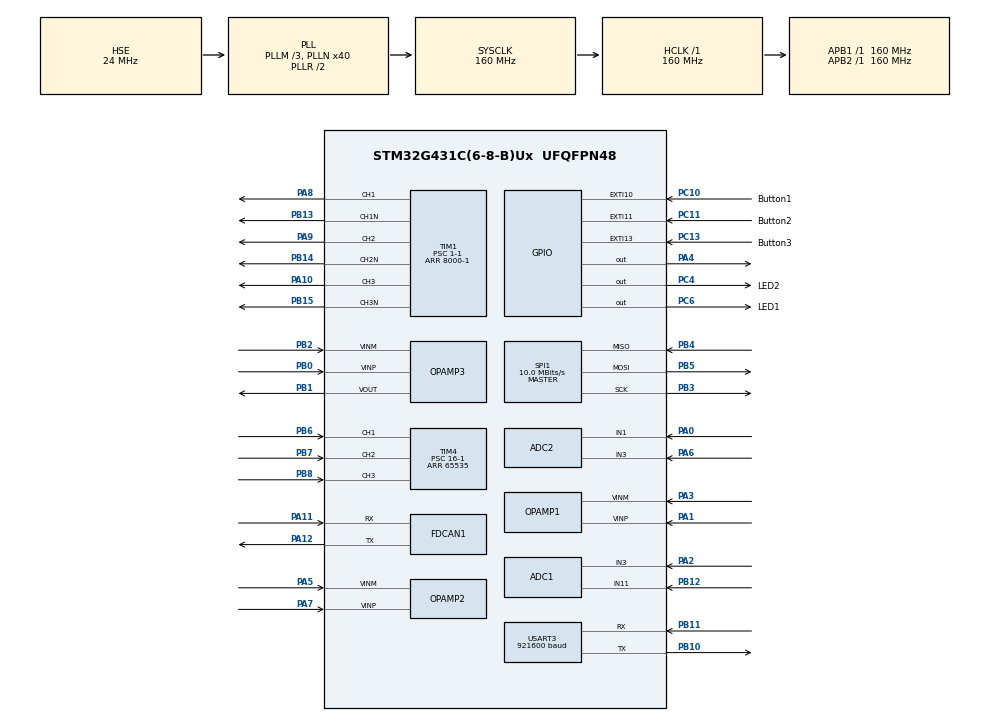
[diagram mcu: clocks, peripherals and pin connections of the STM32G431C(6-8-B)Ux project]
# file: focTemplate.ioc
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ADC1.Channel-0\#ChannelRegularConversion=ADC_CHANNEL_11
ADC1.ClockPrescaler=ADC_CLOCK_ASYNC_DIV4
ADC1.EnableInjectedConversion=ENABLE
ADC1.ExternalTrigInjecConv=ADC_EXTERNALTRIGINJEC_T1_CC4
ADC1.InjNumberOfConversion=2
ADC1.InjectedChannel-1\#ChannelInjectedConversion=ADC_CHANNEL_3
ADC1.InjectedChannel-2\#ChannelInjectedConversion=ADC_CHANNEL_12
ADC1.InjectedOffsetNumber-1\#ChannelInjectedConversion=ADC_OFFSET_NONE
ADC1.InjectedOffsetNumber-2\#ChannelInjectedConversion=ADC_OFFSET_NONE
ADC1.InjectedRank-1\#ChannelInjectedConversion=1
ADC1.InjectedRank-2\#ChannelInjectedConversion=2
ADC1.InjectedSamplingTime-1\#ChannelInjectedConversion=ADC_SAMPLETIME_6CYCLES_5
ADC1.InjectedSamplingTime-2\#ChannelInjectedConversion=ADC_SAMPLETIME_6CYCLES_5
ADC1.NbrOfConversionFlag=1
ADC1.OffsetNumber-0\#ChannelRegularConversion=ADC_OFFSET_NONE
ADC1.Rank-0\#ChannelRegularConversion=1
ADC1.SamplingTime-0\#ChannelRegularConversion=ADC_SAMPLETIME_2CYCLES_5
ADC1.master=1
ADC2.Channel-2\#ChannelRegularConversion=ADC_CHANNEL_1
ADC2.ClockPrescaler=ADC_CLOCK_ASYNC_DIV4
ADC2.EnableInjectedConversion=ENABLE
ADC2.EnableRegularConversion=ENABLE
ADC2.ExternalTrigInjecConv=ADC_EXTERNALTRIGINJEC_T1_CC4
ADC2.InjNumberOfConversion=1
ADC2.InjectedChannel-1\#ChannelInjectedConversion=ADC_CHANNEL_3
ADC2.InjectedOffsetNumber-1\#ChannelInjectedConversion=ADC_OFFSET_NONE
ADC2.InjectedRank-1\#ChannelInjectedConversion=1
ADC2.InjectedSamplingTime-1\#ChannelInjectedConversion=ADC_SAMPLETIME_6CYCLES_5
ADC2.NbrOfConversionFlag=1
ADC2.OffsetNumber-2\#ChannelRegularConversion=ADC_OFFSET_NONE
ADC2.Rank-2\#ChannelRegularConversion=1
ADC2.SamplingTime-2\#ChannelRegularConversion=ADC_SAMPLETIME_2CYCLES_5
COMP1.TriggerMode=COMP_TRIGGERMODE_IT_RISING
Dma.Request0=USART3_TX
Dma.USART3_TX.0.Direction=DMA_MEMORY_TO_PERIPH
Dma.USART3_TX.0.EventEnable=DISABLE
Dma.USART3_TX.0.Instance=DMA1_Channel1
Dma.USART3_TX.0.MemDataAlignment=DMA_MDATAALIGN_BYTE
Dma.USART3_TX.0.MemInc=DMA_MINC_ENABLE
Dma.USART3_TX.0.Mode=DMA_NORMAL
Dma.USART3_TX.0.PeriphDataAlignment=DMA_PDATAALIGN_BYTE
Dma.USART3_TX.0.PeriphInc=DMA_PINC_DISABLE
Dma.USART3_TX.0.Polarity=HAL_DMAMUX_REQ_GEN_RISING
Dma.USART3_TX.0.Priority=DMA_PRIORITY_LOW
Dma.USART3_TX.0.RequestNumber=1
Dma.USART3_TX.0.SignalID=NONE
Dma.USART3_TX.0.SyncEnable=DISABLE
Dma.USART3_TX.0.SyncPolarity=HAL_DMAMUX_SYNC_NO_EVENT
Dma.USART3_TX.0.SyncRequestNumber=1
Dma.USART3_TX.0.SyncSignalID=NONE
FDCAN1.CalculateBaudRateNominal=500000
FDCAN1.CalculateTimeBitNominal=2000
FDCAN1.CalculateTimeQuantumNominal=125.0
FDCAN1.DataPrescaler=20
FDCAN1.DataTimeSeg1=10
FDCAN1.DataTimeSeg2=5
FDCAN1.ExtFiltersNbr=1
FDCAN1.NominalPrescaler=20
FDCAN1.NominalTimeSeg1=10
FDCAN1.NominalTimeSeg2=5
FDCAN1.StdFiltersNbr=1
Mcu.Family=STM32G4
Mcu.Name=STM32G431C(6-8-B)Ux
Mcu.Package=UFQFPN48
NVIC.ADC1_2_IRQn=true\:0\:0\:false\:false\:true\:true\:true\:true
NVIC.COMP1_2_3_IRQn=true\:0\:0\:false\:false\:true\:false\:true\:true
NVIC.DMA1_Channel1_IRQn=true\:0\:0\:false\:false\:true\:false\:true\:true
NVIC.EXTI15_10_IRQn=true\:0\:0\:false\:false\:true\:true\:true\:true
NVIC.FDCAN1_IT0_IRQn=true\:0\:0\:false\:false\:true\:true\:true\:true
NVIC.PriorityGroup=NVIC_PRIORITYGROUP_4
NVIC.TIM1_BRK_TIM15_IRQn=true\:0\:0\:false\:false\:true\:true\:true\:true
NVIC.TIM1_CC_IRQn=true\:0\:0\:false\:false\:true\:true\:true\:true
NVIC.TIM1_UP_TIM16_IRQn=true\:0\:0\:false\:false\:true\:true\:true\:true
NVIC.TIM4_IRQn=true\:0\:0\:false\:false\:true\:true\:true\:true
NVIC.USART3_IRQn=true\:0\:0\:false\:false\:true\:true\:true\:true
PA0.Mode=IN1-Single-Ended
PA0.Signal=ADC2_IN1
PA1.Mode=Standalone
PA1.Signal=OPAMP1_VINP
PA10.Signal=S_TIM1_CH3
PA11.Mode=FDCAN_Activate
PA11.Signal=FDCAN1_RX
PA12.Mode=FDCAN_Activate
PA12.Signal=FDCAN1_TX
PA13.Mode=Serial_Wire
PA13.Signal=SYS_JTMS-SWDIO
PA14.Mode=Serial_Wire
PA14.Signal=SYS_JTCK-SWCLK
PA2.Signal=SharedAnalog_PA2
PA3.Mode=Standalone
PA3.Signal=OPAMP1_VINM
PA4.GPIO_Speed=GPIO_SPEED_FREQ_VERY_HIGH
PA4.PinState=GPIO_PIN_SET
PA4.Signal=GPIO_Output
PA5.Mode=Standalone
PA5.Signal=OPAMP2_VINM
PA6.Signal=SharedAnalog_PA6
PA7.Mode=Standalone
PA7.Signal=OPAMP2_VINP
PA8.Signal=S_TIM1_CH1
PA9.Signal=S_TIM1_CH2
PB0.Mode=Standalone
PB0.Signal=OPAMP3_VINP
PB1.Signal=SharedAnalog_PB1
PB10.Mode=Asynchronous
PB10.Signal=USART3_TX
PB11.Mode=Asynchronous
PB11.Signal=USART3_RX
PB12.Mode=IN11-Single-Ended
PB12.Signal=ADC1_IN11
PB13.Mode=PWM Generation1 CH1 CH1N
PB13.Signal=TIM1_CH1N
PB14.Mode=PWM Generation2 CH2 CH2N
PB14.Signal=TIM1_CH2N
PB15.Mode=PWM Generation3 CH3 CH3N
PB15.Signal=TIM1_CH3N
PB2.Mode=Standalone
PB2.Signal=OPAMP3_VINM
PB3.Mode=Full_Duplex_Master
PB3.Signal=SPI1_SCK
PB4.Mode=Full_Duplex_Master
PB4.Signal=SPI1_MISO
PB5.Mode=Full_Duplex_Master
PB5.Signal=SPI1_MOSI
PB6.Signal=S_TIM4_CH1
PB7.Signal=S_TIM4_CH2
PB8-BOOT0.Signal=S_TIM4_CH3
PC10.GPIO_Label=Button1
PC10.Signal=GPXTI10
PC11.GPIO_Label=Button2
PC11.Signal=GPXTI11
PC13.GPIO_Label=Button3
PC13.Signal=GPXTI13
PC4.GPIO_Label=LED2
PC4.Signal=GPIO_Output
PC6.GPIO_Label=LED1
PC6.Signal=GPIO_Output
PF0-OSC_IN.Mode=HSE-External-Oscillator
PF0-OSC_IN.Signal=RCC_OSC_IN
PF1-OSC_OUT.Mode=HSE-External-Oscillator
PF1-OSC_OUT.Signal=RCC_OSC_OUT
ProjectManager.HeapSize=0x200
ProjectManager.StackSize=0x400
ProjectManager.TargetToolchain=STM32CubeIDE
RCC.ADC12Freq_Value=160000000
RCC.AHBFreq_Value=160000000
RCC.APB1Freq_Value=160000000
RCC.APB1TimFreq_Value=160000000
RCC.APB2Freq_Value=160000000
RCC.APB2TimFreq_Value=160000000
RCC.CortexFreq_Value=160000000
RCC.EXTERNAL_CLOCK_VALUE=12288000
RCC.HCLKFreq_Value=160000000
RCC.HSE_VALUE=24000000
RCC.HSI48_VALUE=48000000
RCC.HSI_VALUE=16000000
RCC.LSE_VALUE=32768
RCC.PLLM=RCC_PLLM_DIV3
RCC.PLLN=40
RCC.PLLSourceVirtual=RCC_PLLSOURCE_HSE
RCC.SYSCLKFreq_VALUE=160000000
RCC.SYSCLKSource=RCC_SYSCLKSOURCE_PLLCLK
RCC.USBFreq_Value=160000000
RCC.VCOOutputFreq_Value=320000000
SH.S_TIM1_CH1.0=TIM1_CH1,PWM Generation1 CH1 CH1N
SH.S_TIM1_CH2.0=TIM1_CH2,PWM Generation2 CH2 CH2N
SH.S_TIM1_CH3.0=TIM1_CH3,PWM Generation3 CH3 CH3N
SH.S_TIM4_CH1.0=TIM4_CH1,Xored_Inputs_Hall_Sensor_Interface
SH.S_TIM4_CH2.0=TIM4_CH2,Xored_Inputs_Hall_Sensor_Interface
SH.S_TIM4_CH3.0=TIM4_CH3,Xored_Inputs_Hall_Sensor_Interface
SH.SharedAnalog_PA2.0=ADC1_IN3,IN3-Single-Ended
SH.SharedAnalog_PA2.1=OPAMP1_VOUT,Standalone
SH.SharedAnalog_PA6.0=ADC2_IN3,IN3-Single-Ended
SH.SharedAnalog_PA6.1=OPAMP2_VOUT,Standalone
SH.SharedAnalog_PB1.0=OPAMP3_VOUT,Standalone
SH.SharedAnalog_PB1.1=ADC1_IN12,IN12-Single-Ended
SH.SharedAnalog_PB1.2=COMP1_INP,INP
SPI1.BaudRatePrescaler=SPI_BAUDRATEPRESCALER_16
SPI1.CLKPhase=SPI_PHASE_2EDGE
SPI1.CalculateBaudRate=10.0 MBits/s
SPI1.DataSize=SPI_DATASIZE_16BIT
SPI1.Direction=SPI_DIRECTION_2LINES
SPI1.Mode=SPI_MODE_MASTER
SPI1.VirtualType=VM_MASTER
STMicroelectronics.X-CUBE-ALGOBUILD.1.3.0.LibraryCcDSPOoLibraryJjDSPOoLibrary=true
TIM1.BreakFilter=2
TIM1.BreakState=TIM_BREAK_ENABLE
TIM1.Channel-PWM\ Generation1\ CH1\ CH1N=TIM_CHANNEL_1
TIM1.Channel-PWM\ Generation2\ CH2\ CH2N=TIM_CHANNEL_2
TIM1.Channel-PWM\ Generation3\ CH3\ CH3N=TIM_CHANNEL_3
TIM1.Channel-PWM\ Generation4\ No\ Output=TIM_CHANNEL_4
TIM1.ClockDivision=TIM_CLOCKDIVISION_DIV2
TIM1.CounterMode=TIM_COUNTERMODE_CENTERALIGNED1
TIM1.DeadTime=120
TIM1.OCMode_PWM-PWM\ Generation4\ No\ Output=TIM_OCMODE_PWM2
TIM1.PeriodNoDither=8000-1
TIM1.Prescaler=1-1
TIM1.PulseNoDither_4=8000-2
TIM1.RepetitionCounter=1
TIM1.SourceBRKCOMP1=TIM_BREAKINPUTSOURCE_ENABLE
TIM1.TIM_MasterOutputTrigger=TIM_TRGO_OC4REF
TIM4.Commutation_Delay=5
TIM4.IC1Filter=10
TIM4.PeriodNoDither=65535
TIM4.Prescaler=16-1
USART3.BaudRate=921600
USART3.VirtualMode-Asynchronous=VM_ASYNC
VP_COMP1_VS_DAC3OUT1.Mode=INM_DAC3OUT1
VP_DAC3_VS_DACI1.Mode=DAC_OUT1_Int
VP_STMicroelectronics.X-CUBE-ALGOBUILD_VS_DSPOoLibraryJjLibrary_1.3.0_1.3.0.Mode=DSPOoLibraryJjLibrary
VP_SYS_VS_DBSignals.Mode=DisableDeadBatterySignals
VP_TIM1_VS_ClockSourceINT.Mode=Internal
VP_TIM1_VS_no_output4.Mode=PWM Generation4 No Output
VP_TIM4_VS_ClockSourceINT.Mode=Internal
board=custom

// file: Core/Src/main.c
/* USER CODE BEGIN Header */
/**
 ******************************************************************************
 * @file           : main.c
 * @brief          : Main program body
 ******************************************************************************
 * @attention
 *
 * <h2><center>&copy; Copyright (c) 2023 STMicroelectronics.
 * All rights reserved.</center></h2>
 *
 * This software component is licensed by ST under BSD 3-Clause license,
 * the "License"; You may not use this file except in compliance with the
 * License. You may obtain a copy of the License at:
 *                        opensource.org/licenses/BSD-3-Clause
 *
 ******************************************************************************
 */
/* USER CODE END Header */
#include "main.h"
#include "adc.h"
#include "comp.h"
#include "dac.h"
#include "dma.h"
#include "fdcan.h"
#include "opamp.h"
#include "spi.h"
#include "tim.h"
#include "usart.h"
#include "gpio.h"

/* USER CODE BEGIN Includes */
#include <stdio.h>
#include <string.h>
#include "../../User/app.h"
#include "../../User/userMain.h"
/* USER CODE END Includes */

void SystemClock_Config(void);
/* USER CODE BEGIN PFP */
void FDCAN_Config(void);
/* USER CODE END PFP */

int main(void)
{

  /* MCU Configuration--------------------------------------------------------*/

  /* Reset of all peripherals, Initializes the Flash interface and the Systick. */
  HAL_Init();

  /* Configure the system clock */
  SystemClock_Config();

  /* Initialize all configured peripherals */
  MX_GPIO_Init();
  MX_DMA_Init();
  MX_USART3_UART_Init();
  MX_ADC1_Init();
  MX_ADC2_Init();
  MX_OPAMP1_Init();
  MX_OPAMP2_Init();
  MX_OPAMP3_Init();
  MX_TIM1_Init();
  MX_COMP1_Init();
  MX_DAC3_Init();
  MX_FDCAN1_Init();
  MX_TIM4_Init();
  MX_SPI1_Init();
  /* USER CODE BEGIN 2 */

  HAL_OPAMP_Start(&hopamp1);
  HAL_OPAMP_Start(&hopamp2);
  HAL_OPAMP_Start(&hopamp3);
  // HAL_UART_Receive_IT(&huart3, (uint8_t *)&aRxBuffer, 1);
  HAL_ADCEx_Calibration_Start(&hadc1, ADC_SINGLE_ENDED);
  HAL_ADCEx_Calibration_Start(&hadc2, ADC_SINGLE_ENDED);
  __HAL_ADC_CLEAR_FLAG(&hadc1, ADC_FLAG_JEOC);
  __HAL_ADC_CLEAR_FLAG(&hadc1, ADC_FLAG_EOC);
  __HAL_ADC_CLEAR_FLAG(&hadc2, ADC_FLAG_JEOC);
  HAL_ADCEx_InjectedStart_IT(&hadc1);
  HAL_ADCEx_InjectedStart(&hadc2);
  TIM1->ARR = 8000 - 1;
  TIM1->CCR4 = 8000 - 2;
  HAL_TIM_Base_Start(&htim1);
  HAL_TIM_PWM_Start(&htim1, TIM_CHANNEL_4);
  appInit();
  HAL_DAC_SetValue(&hdac3, DAC_CHANNEL_1, DAC_ALIGN_12B_R, 3000);
  HAL_DAC_Start(&hdac3, DAC_CHANNEL_1);
  //  HAL_DAC_Start(&hdac1, DAC_CHANNEL_1);
  HAL_COMP_Start(&hcomp1);
  HAL_TIMEx_HallSensor_Start_IT(&htim4);
  FDCAN_Config();

  /* USER CODE END 2 */

  /* Infinite loop */
  /* USER CODE BEGIN WHILE */
  while (1)
  {
    //    HAL_ADC_Start(&hadc1);
    //    HAL_ADC_Start(&hadc2);
    //    Vpoten = HAL_ADC_GetValue(&hadc1);
    //    adc_vbus = HAL_ADC_GetValue(&hadc2);
    //    Vbus = adc_vbus * 3.3f / 4096 * 26;
    //    //		HAL_DAC_SetValue(&hdac1,DAC_CHANNEL_1,DAC_ALIGN_12B_R,DAC_temp);
    //    HAL_FDCAN_AddMessageToTxFifoQ(&hfdcan1, &TxHeader, TxData);
    //    HAL_Delay(10);
    /* USER CODE END WHILE */

    /* USER CODE BEGIN 3 */
    userMain();
  }
  /* USER CODE END 3 */
}

void SystemClock_Config(void)
{
  RCC_OscInitTypeDef RCC_OscInitStruct = {0};
  RCC_ClkInitTypeDef RCC_ClkInitStruct = {0};

  /** Configure the main internal regulator output voltage
   */
  HAL_PWREx_ControlVoltageScaling(PWR_REGULATOR_VOLTAGE_SCALE1_BOOST);

  /** Initializes the RCC Oscillators according to the specified parameters
   * in the RCC_OscInitTypeDef structure.
   */
  RCC_OscInitStruct.OscillatorType = RCC_OSCILLATORTYPE_HSE;
  RCC_OscInitStruct.HSEState = RCC_HSE_ON;
  RCC_OscInitStruct.PLL.PLLState = RCC_PLL_ON;
  RCC_OscInitStruct.PLL.PLLSource = RCC_PLLSOURCE_HSE;
  RCC_OscInitStruct.PLL.PLLM = RCC_PLLM_DIV3;
  RCC_OscInitStruct.PLL.PLLN = 40;
  RCC_OscInitStruct.PLL.PLLP = RCC_PLLP_DIV2;
  RCC_OscInitStruct.PLL.PLLQ = RCC_PLLQ_DIV2;
  RCC_OscInitStruct.PLL.PLLR = RCC_PLLR_DIV2;
  if (HAL_RCC_OscConfig(&RCC_OscInitStruct) != HAL_OK)
  {
    Error_Handler();
  }

  /** Initializes the CPU, AHB and APB buses clocks
   */
  RCC_ClkInitStruct.ClockType = RCC_CLOCKTYPE_HCLK | RCC_CLOCKTYPE_SYSCLK | RCC_CLOCKTYPE_PCLK1 | RCC_CLOCKTYPE_PCLK2;
  RCC_ClkInitStruct.SYSCLKSource = RCC_SYSCLKSOURCE_PLLCLK;
  RCC_ClkInitStruct.AHBCLKDivider = RCC_SYSCLK_DIV1;
  RCC_ClkInitStruct.APB1CLKDivider = RCC_HCLK_DIV1;
  RCC_ClkInitStruct.APB2CLKDivider = RCC_HCLK_DIV1;

  if (HAL_RCC_ClockConfig(&RCC_ClkInitStruct, FLASH_LATENCY_4) != HAL_OK)
  {
    Error_Handler();
  }
}

void Error_Handler(void)
{
  __disable_irq();
  while (1)
  {
  }
}
